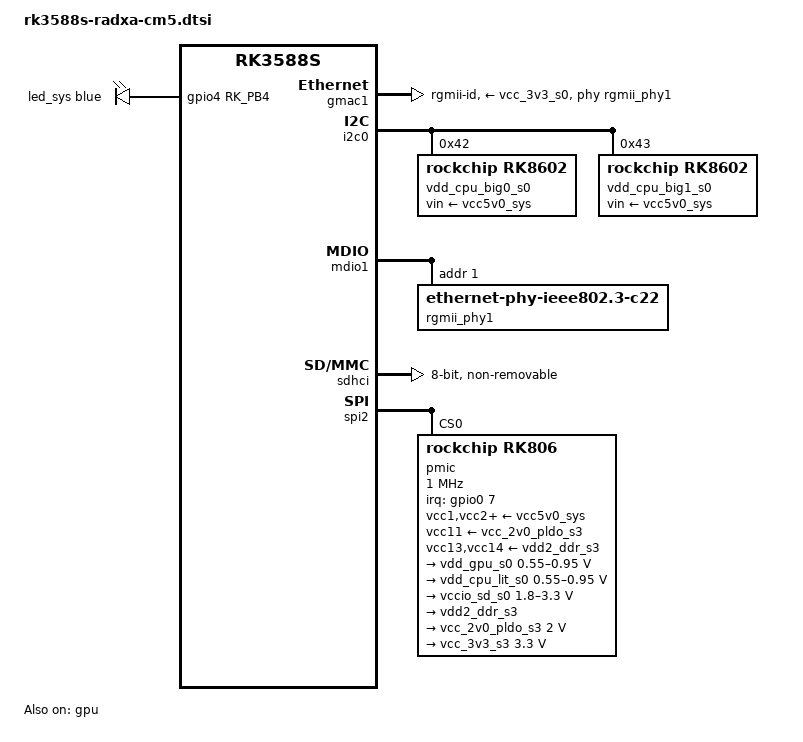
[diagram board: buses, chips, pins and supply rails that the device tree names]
// SPDX-License-Identifier: (GPL-2.0+ OR MIT)
/*
 * Copyright (c) 2025 Joseph Kogut <joseph.kogut@gmail.com>
 */

/*
 * CM5 data sheet
 * https://dl.radxa.com/cm5/v2210/radxa_cm5_v2210_schematic.pdf
 */

#include <dt-bindings/gpio/gpio.h>
#include <dt-bindings/leds/common.h>
#include <dt-bindings/soc/rockchip,vop2.h>
#include <dt-bindings/usb/pd.h>

/ {
	compatible = "radxa,cm5", "rockchip,rk3588s";

	aliases {
		mmc0 = &sdhci;
	};

	leds {
		compatible = "gpio-leds";

		led_sys: led-0 {
			color = <LED_COLOR_ID_BLUE>;
			default-state = "on";
			function = LED_FUNCTION_HEARTBEAT;
			gpios = <&gpio4 RK_PB4 GPIO_ACTIVE_HIGH>;
			linux,default-trigger = "heartbeat";
		};
	};
};

&cpu_b0 {
	cpu-supply = <&vdd_cpu_big0_s0>;
};

&cpu_b1 {
	cpu-supply = <&vdd_cpu_big0_s0>;
};

&cpu_b2 {
	cpu-supply = <&vdd_cpu_big1_s0>;
};

&cpu_b3 {
	cpu-supply = <&vdd_cpu_big1_s0>;
};

&cpu_l0 {
	cpu-supply = <&vdd_cpu_lit_s0>;
};

&cpu_l1 {
	cpu-supply = <&vdd_cpu_lit_s0>;
};

&cpu_l2 {
	cpu-supply = <&vdd_cpu_lit_s0>;
};

&cpu_l3 {
	cpu-supply = <&vdd_cpu_lit_s0>;
};

&gmac1 {
	clock_in_out = "output";
	phy-handle = <&rgmii_phy1>;
	phy-mode = "rgmii-id";
	phy-supply = <&vcc_3v3_s0>;
	pinctrl-names = "default";
	pinctrl-0 = <&gmac1_miim
		     &gmac1_tx_bus2
		     &gmac1_rx_bus2
		     &gmac1_rgmii_clk
		     &gmac1_rgmii_bus
		     &gmac1_clkinout>;
};

&gpu {
	mali-supply = <&vdd_gpu_s0>;
	status = "okay";
};

&i2c0 {
	pinctrl-names = "default";
	pinctrl-0 = <&i2c0m2_xfer>;
	status = "okay";

	vdd_cpu_big0_s0: regulator@42 {
		compatible = "rockchip,rk8602";
		reg = <0x42>;
		fcs,suspend-voltage-selector = <1>;
		regulator-name = "vdd_cpu_big0_s0";
		regulator-always-on;
		regulator-boot-on;
		regulator-min-microvolt = <550000>;
		regulator-max-microvolt = <1050000>;
		regulator-ramp-delay = <2300>;
		vin-supply = <&vcc5v0_sys>;

		regulator-state-mem {
			regulator-off-in-suspend;
		};
	};

	vdd_cpu_big1_s0: regulator@43 {
		compatible = "rockchip,rk8602";
		reg = <0x43>;
		fcs,suspend-voltage-selector = <1>;
		regulator-name = "vdd_cpu_big1_s0";
		regulator-always-on;
		regulator-boot-on;
		regulator-min-microvolt = <550000>;
		regulator-max-microvolt = <1050000>;
		regulator-ramp-delay = <2300>;
		vin-supply = <&vcc5v0_sys>;

		regulator-state-mem {
			regulator-off-in-suspend;
		};
	};
};

&mdio1 {
	rgmii_phy1: phy@1 {
		compatible = "ethernet-phy-ieee802.3-c22";
		reg = <0x1>;
	};
};

&pd_gpu {
	domain-supply = <&vdd_gpu_s0>;
};

&sdhci {
	bus-width = <8>;
	no-sdio;
	no-sd;
	non-removable;
	max-frequency = <200000000>;
	mmc-hs400-1_8v;
	mmc-hs400-enhanced-strobe;
	mmc-hs200-1_8v;
	status = "okay";
};

&spi2 {
	assigned-clocks = <&cru CLK_SPI2>;
	assigned-clock-rates = <200000000>;
	num-cs = <1>;
	pinctrl-names = "default";
	pinctrl-0 = <&spi2m2_cs0 &spi2m2_pins>;
	status = "okay";

	pmic@0 {
		compatible = "rockchip,rk806";
		reg = <0x0>;
		interrupt-parent = <&gpio0>;
		interrupts = <7 IRQ_TYPE_LEVEL_LOW>;
		pinctrl-names = "default";
		pinctrl-0 = <&pmic_pins>, <&rk806_dvs1_null>,
			    <&rk806_dvs2_null>, <&rk806_dvs3_null>;
		spi-max-frequency = <1000000>;
		system-power-controller;

		vcc1-supply = <&vcc5v0_sys>;
		vcc2-supply = <&vcc5v0_sys>;
		vcc3-supply = <&vcc5v0_sys>;
		vcc4-supply = <&vcc5v0_sys>;
		vcc5-supply = <&vcc5v0_sys>;
		vcc6-supply = <&vcc5v0_sys>;
		vcc7-supply = <&vcc5v0_sys>;
		vcc8-supply = <&vcc5v0_sys>;
		vcc9-supply = <&vcc5v0_sys>;
		vcc10-supply = <&vcc5v0_sys>;
		vcc11-supply = <&vcc_2v0_pldo_s3>;
		vcc12-supply = <&vcc5v0_sys>;
		vcc13-supply = <&vdd2_ddr_s3>;
		vcc14-supply = <&vdd2_ddr_s3>;
		vcca-supply = <&vcc5v0_sys>;

		gpio-controller;
		#gpio-cells = <2>;

		rk806_dvs1_null: dvs1-null-pins {
			pins = "gpio_pwrctrl1";
			function = "pin_fun0";
		};

		rk806_dvs2_null: dvs2-null-pins {
			pins = "gpio_pwrctrl2";
			function = "pin_fun0";
		};

		rk806_dvs3_null: dvs3-null-pins {
			pins = "gpio_pwrctrl3";
			function = "pin_fun0";
		};

		regulators {
			vdd_gpu_s0: dcdc-reg1 {
				regulator-name = "vdd_gpu_s0";
				regulator-boot-on;
				regulator-enable-ramp-delay = <400>;
				regulator-min-microvolt = <550000>;
				regulator-max-microvolt = <950000>;
				regulator-ramp-delay = <12500>;

				regulator-state-mem {
					regulator-off-in-suspend;
				};
			};

			vdd_cpu_lit_s0: dcdc-reg2 {
				regulator-name = "vdd_cpu_lit_s0";
				regulator-always-on;
				regulator-boot-on;
				regulator-min-microvolt = <550000>;
				regulator-max-microvolt = <950000>;
				regulator-ramp-delay = <12500>;

				regulator-state-mem {
					regulator-off-in-suspend;
				};
			};

			vccio_sd_s0: pldo-reg5 {
				regulator-always-on;
				regulator-boot-on;
				regulator-min-microvolt = <1800000>;
				regulator-max-microvolt = <3300000>;
				regulator-name = "vccio_sd_s0";

				regulator-state-mem {
					regulator-off-in-suspend;
				};
			};

			vdd2_ddr_s3: dcdc-reg6 {
				regulator-name = "vdd2_ddr_s3";
				regulator-always-on;
				regulator-boot-on;

				regulator-state-mem {
					regulator-on-in-suspend;
				};
			};

			vcc_2v0_pldo_s3: dcdc-reg7 {
				regulator-name = "vdd_2v0_pldo_s3";
				regulator-always-on;
				regulator-boot-on;
				regulator-min-microvolt = <2000000>;
				regulator-max-microvolt = <2000000>;
				regulator-ramp-delay = <12500>;

				regulator-state-mem {
					regulator-on-in-suspend;
					regulator-suspend-microvolt = <2000000>;
				};
			};

			vcc_3v3_s3: dcdc-reg8 {
				regulator-name = "vcc_3v3_s3";
				regulator-always-on;
				regulator-boot-on;
				regulator-min-microvolt = <3300000>;
				regulator-max-microvolt = <3300000>;

				regulator-state-mem {
					regulator-on-in-suspend;
					regulator-suspend-microvolt = <3300000>;
				};
			};
		};
	};
};
